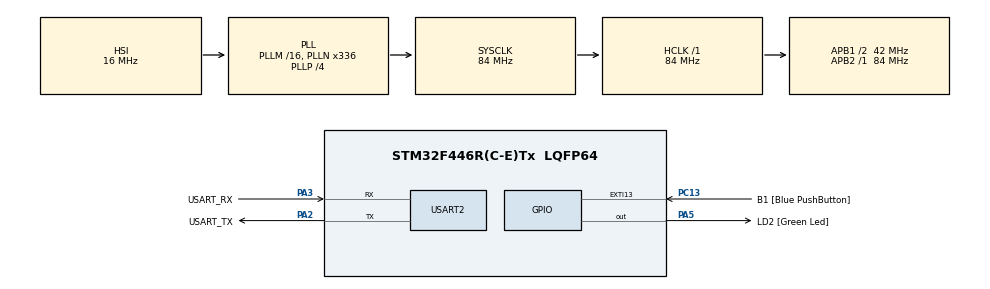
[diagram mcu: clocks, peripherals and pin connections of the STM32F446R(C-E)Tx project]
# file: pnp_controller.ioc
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Mcu.Family=STM32F4
Mcu.Name=STM32F446R(C-E)Tx
Mcu.Package=LQFP64
NVIC.PriorityGroup=NVIC_PRIORITYGROUP_0
NVIC.USART2_IRQn=true\:0\:0\:false\:false\:true\:true\:true\:true
PA13.GPIO_Label=TMS
PA13.Mode=Serial_Wire
PA13.Signal=SYS_JTMS-SWDIO
PA14.GPIO_Label=TCK
PA14.Mode=Serial_Wire
PA14.Signal=SYS_JTCK-SWCLK
PA2.GPIO_Label=USART_TX
PA2.Mode=Asynchronous
PA2.Signal=USART2_TX
PA3.GPIO_Label=USART_RX
PA3.Mode=Asynchronous
PA3.Signal=USART2_RX
PA5.GPIO_Label=LD2 [Green Led]
PA5.Signal=GPIO_Output
PB3.GPIO_Label=SWO
PB3.Signal=SYS_JTDO-SWO
PC13.GPIO_Label=B1 [Blue PushButton]
PC13.GPIO_ModeDefaultEXTI=GPIO_MODE_IT_FALLING
PC13.Signal=GPXTI13
PC14-OSC32_IN.Mode=LSE-External-Oscillator
PC14-OSC32_IN.Signal=RCC_OSC32_IN
PC15-OSC32_OUT.Mode=LSE-External-Oscillator
PC15-OSC32_OUT.Signal=RCC_OSC32_OUT
PH0-OSC_IN.Mode=HSE-External-Oscillator
PH0-OSC_IN.Signal=RCC_OSC_IN
PH1-OSC_OUT.Mode=HSE-External-Oscillator
PH1-OSC_OUT.Signal=RCC_OSC_OUT
ProjectManager.HeapSize=0x200
ProjectManager.StackSize=0x400
ProjectManager.TargetToolchain=STM32CubeIDE
RCC.48MHZClocksFreq_Value=84000000
RCC.AHBFreq_Value=84000000
RCC.APB1CLKDivider=RCC_HCLK_DIV2
RCC.APB1Freq_Value=42000000
RCC.APB1TimFreq_Value=84000000
RCC.APB2Freq_Value=84000000
RCC.APB2TimFreq_Value=84000000
RCC.CortexFreq_Value=84000000
RCC.FLatency-AdvancedSettings=FLASH_LATENCY_2
RCC.HCLKFreq_Value=84000000
RCC.HSE_VALUE=8000000
RCC.HSI_VALUE=16000000
RCC.PLLN=336
RCC.PLLP=RCC_PLLP_DIV4
RCC.SYSCLKFreq_VALUE=84000000
RCC.SYSCLKSource=RCC_SYSCLKSOURCE_PLLCLK
RCC.USBFreq_Value=168000000
RCC.VCOOutputFreq_Value=336000000
USART2.VirtualMode=VM_ASYNC
board=NUCLEO-F446RE

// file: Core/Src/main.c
/* USER CODE BEGIN Header */
/**
  ******************************************************************************
  * @file           : main.c
  * @brief          : Main program body
  ******************************************************************************
  * @attention
  *
  * Copyright (c) 2023 STMicroelectronics.
  * All rights reserved.
  *
  * This software is licensed under terms that can be found in the LICENSE file
  * in the root directory of this software component.
  * If no LICENSE file comes with this software, it is provided AS-IS.
  *
  ******************************************************************************
  */
/* USER CODE END Header */
#include "main.h"

/* USER CODE BEGIN Includes */
#include "command.h"
#include <string.h>
/* USER CODE END Includes */

/* USER CODE BEGIN PD */
#define BUFFER_SIZE 100
/* USER CODE END PD */

UART_HandleTypeDef huart2;

/* USER CODE BEGIN PV */
uint8_t rx_data;
uint8_t rx_buffer[BUFFER_SIZE][16];
uint8_t buffer_index;

uint8_t ready[6] = "ready";
char* MCUHANDSHAKE = "Handshake Complete\n";
char* ready_for_new_command = "Waiting on New Command...\n";
uint8_t PCH_flag =0;
uint8_t END_flag =0;
uint8_t t_code[16];
uint8_t t_code_index;
uint8_t start_flag =0;

uint8_t uart_buffer[BUFFER_SIZE];
volatile uint8_t read_ptr = 0;
volatile uint8_t write_ptr = 0;
char* echo_command;

/* USER CODE END PV */

void SystemClock_Config(void);
static void MX_GPIO_Init(void);
static void MX_USART2_UART_Init(void);

/* USER CODE BEGIN 0 */

//rudimentary delay
void delay() {
	for(int i = 0; i < 1000000; i++);
}

//checks if the last 6 bits in the buffer are ready?
uint8_t checkPCH(){

	if(uart_buffer[read_ptr] == 'P' && uart_buffer[read_ptr+1] == 'C' && uart_buffer[read_ptr+2] == 'H'){
		read_ptr += 3;
		read_ptr %= BUFFER_SIZE;
		PCH_flag = 1;
		return 1;
	}else{return 0;}

}

/* USER CODE END 0 */

int main(void)
{

  /* MCU Configuration--------------------------------------------------------*/

  /* Reset of all peripherals, Initializes the Flash interface and the Systick. */
  HAL_Init();

  /* Configure the system clock */
  SystemClock_Config();

  /* Initialize all configured peripherals */
  MX_GPIO_Init();
  MX_USART2_UART_Init();
  /* USER CODE BEGIN 2 */
  HAL_UART_Receive_IT(&huart2, &rx_data, 1);
  buffer_index = 0;
  /* USER CODE END 2 */

  /* Infinite loop */
  /* USER CODE BEGIN WHILE */
  while (1)
  {
	   // HAL_Delay(1000);
	  uint8_t t_code[24];
	  uint8_t t_code_index;

	  //wait for handshake until handshake received
	  while(!PCH_flag){
		  checkPCH();
	  }

	  //after handshake, send mcu handshake until first part of command received
	  HAL_UART_Transmit(&huart2, (uint8_t *) MCUHANDSHAKE, strlen(MCUHANDSHAKE), 10);

	  //delay();

	  //send ready_for_new_command
	  HAL_UART_Transmit(&huart2, (uint8_t *) ready_for_new_command, strlen(ready_for_new_command), 10);

	  //delay();

	  while((uart_buffer[read_ptr] == '\0'));
	  uint8_t temp_ptr = read_ptr;
	  while(!(uart_buffer[temp_ptr] == '\n' || uart_buffer[temp_ptr] == '\r')) {
		  temp_ptr++;
		  temp_ptr %= BUFFER_SIZE;
	  }

	  while (read_ptr != temp_ptr){
		  echo_command = strncat(echo_command, ((char *) &uart_buffer[read_ptr]), 1);
		  read_ptr++;
		  read_ptr %= BUFFER_SIZE;
	  }
	  echo_command = strcat(echo_command, "\n");

	  HAL_UART_Transmit(&huart2, (uint8_t *) echo_command, strlen(echo_command), 10);

	  break;

	  while(!END_flag){
		  if(read_ptr != write_ptr){
			  if(uart_buffer[read_ptr] == '\n' || uart_buffer[read_ptr] == '\r'){
				  read_ptr++;
				  read_ptr %= BUFFER_SIZE;
				  const char* t_code_str = (const char*)t_code;

				  if(start_flag){
					  uint8_t opcode = processCommand(t_code_str);

					  if( opcode == 11 ||opcode == 12){
						  END_flag = 1;
					  }
				  }else{
					  if(checkForStart(t_code_str)){
						  start_flag =1;
					  }
					  //check for startFlag
				  }

				  t_code_index = 0;
				  if(!END_flag){
					  HAL_UART_Transmit(&huart2, (uint8_t *) ready_for_new_command, 5, 10);
				  }
			  }else{

				  t_code[t_code_index] = uart_buffer[read_ptr];
				  t_code_index++;
				  read_ptr ++;
				  read_ptr %= BUFFER_SIZE;
			  }
		  }
		  //check for new byte in uart_buffer
		  //if it's not a newline, put add it to t_code
		  //if it is a newline, call doCommand on it
		  //then send ready_for_new_command

		  //check for new input
		  //if there is a new byte, form it onto

	  }
	  //wait for next command
	  PCH_flag = 0;
	  END_flag = 0;
	  start_flag =0;

	  //when command processed, send ready_for_new_command once
	  //repeat processing command and sending ready until end received
	  //when end received, go back to waiting for handshake

    /* USER CODE END WHILE */

	//  HAL_Delay(1000);
	//  HAL_UART_Transmit(&huart2, ready, 6, 10);
  }
}

void SystemClock_Config(void)
{
  RCC_OscInitTypeDef RCC_OscInitStruct = {0};
  RCC_ClkInitTypeDef RCC_ClkInitStruct = {0};

  /** Configure the main internal regulator output voltage
  */
  __HAL_RCC_PWR_CLK_ENABLE();
  __HAL_PWR_VOLTAGESCALING_CONFIG(PWR_REGULATOR_VOLTAGE_SCALE3);

  /** Initializes the RCC Oscillators according to the specified parameters
  * in the RCC_OscInitTypeDef structure.
  */
  RCC_OscInitStruct.OscillatorType = RCC_OSCILLATORTYPE_HSI;
  RCC_OscInitStruct.HSIState = RCC_HSI_ON;
  RCC_OscInitStruct.HSICalibrationValue = RCC_HSICALIBRATION_DEFAULT;
  RCC_OscInitStruct.PLL.PLLState = RCC_PLL_ON;
  RCC_OscInitStruct.PLL.PLLSource = RCC_PLLSOURCE_HSI;
  RCC_OscInitStruct.PLL.PLLM = 16;
  RCC_OscInitStruct.PLL.PLLN = 336;
  RCC_OscInitStruct.PLL.PLLP = RCC_PLLP_DIV4;
  RCC_OscInitStruct.PLL.PLLQ = 2;
  RCC_OscInitStruct.PLL.PLLR = 2;
  if (HAL_RCC_OscConfig(&RCC_OscInitStruct) != HAL_OK)
  {
    Error_Handler();
  }

  /** Initializes the CPU, AHB and APB buses clocks
  */
  RCC_ClkInitStruct.ClockType = RCC_CLOCKTYPE_HCLK|RCC_CLOCKTYPE_SYSCLK
                              |RCC_CLOCKTYPE_PCLK1|RCC_CLOCKTYPE_PCLK2;
  RCC_ClkInitStruct.SYSCLKSource = RCC_SYSCLKSOURCE_PLLCLK;
  RCC_ClkInitStruct.AHBCLKDivider = RCC_SYSCLK_DIV1;
  RCC_ClkInitStruct.APB1CLKDivider = RCC_HCLK_DIV2;
  RCC_ClkInitStruct.APB2CLKDivider = RCC_HCLK_DIV1;

  if (HAL_RCC_ClockConfig(&RCC_ClkInitStruct, FLASH_LATENCY_2) != HAL_OK)
  {
    Error_Handler();
  }
}

static void MX_USART2_UART_Init(void)
{

  huart2.Instance = USART2;
  huart2.Init.BaudRate = 115200;
  huart2.Init.WordLength = UART_WORDLENGTH_8B;
  huart2.Init.StopBits = UART_STOPBITS_1;
  huart2.Init.Parity = UART_PARITY_NONE;
  huart2.Init.Mode = UART_MODE_TX_RX;
  huart2.Init.HwFlowCtl = UART_HWCONTROL_NONE;
  huart2.Init.OverSampling = UART_OVERSAMPLING_16;
  if (HAL_UART_Init(&huart2) != HAL_OK)
  {
    Error_Handler();
  }

}

static void MX_GPIO_Init(void)
{
  GPIO_InitTypeDef GPIO_InitStruct = {0};

  /* GPIO Ports Clock Enable */
  __HAL_RCC_GPIOC_CLK_ENABLE();
  __HAL_RCC_GPIOH_CLK_ENABLE();
  __HAL_RCC_GPIOA_CLK_ENABLE();
  __HAL_RCC_GPIOB_CLK_ENABLE();

  /*Configure GPIO pin Output Level */
  HAL_GPIO_WritePin(LD2_GPIO_Port, LD2_Pin, GPIO_PIN_RESET);

  /*Configure GPIO pin : B1_Pin */
  GPIO_InitStruct.Pin = B1_Pin;
  GPIO_InitStruct.Mode = GPIO_MODE_IT_FALLING;
  GPIO_InitStruct.Pull = GPIO_NOPULL;
  HAL_GPIO_Init(B1_GPIO_Port, &GPIO_InitStruct);

  /*Configure GPIO pin : LD2_Pin */
  GPIO_InitStruct.Pin = LD2_Pin;
  GPIO_InitStruct.Mode = GPIO_MODE_OUTPUT_PP;
  GPIO_InitStruct.Pull = GPIO_NOPULL;
  GPIO_InitStruct.Speed = GPIO_SPEED_FREQ_LOW;
  HAL_GPIO_Init(LD2_GPIO_Port, &GPIO_InitStruct);

}

/* USER CODE BEGIN 4 */
void HAL_UART_RxCpltCallback(UART_HandleTypeDef *huart) {
    if (huart == &huart2) { // Adjust this based on your UART instance
        uart_buffer[write_ptr] = rx_data; // Store the received data in the buffer
        write_ptr = (write_ptr + 1) % BUFFER_SIZE; // Increment the write pointer and wrap around if needed
        HAL_UART_Receive_IT(&huart2, &rx_data, 1); // Start the next receive
    }
}

/* USER CODE END 4 */

void Error_Handler(void)
{
  __disable_irq();
  while (1)
  {
  }
}
